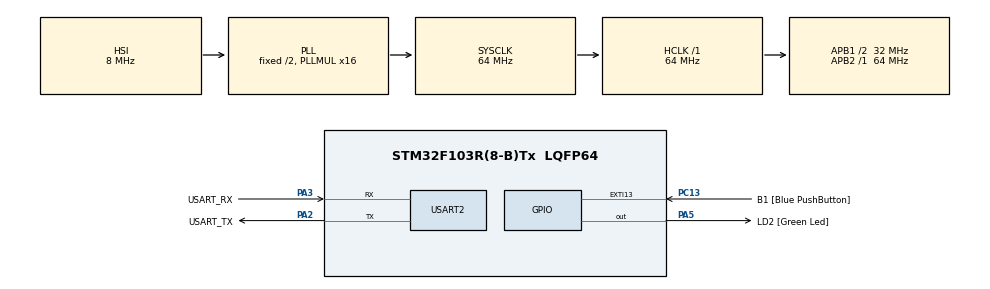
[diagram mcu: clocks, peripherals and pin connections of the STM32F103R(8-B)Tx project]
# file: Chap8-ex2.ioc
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Mcu.Family=STM32F1
Mcu.Name=STM32F103R(8-B)Tx
Mcu.Package=LQFP64
NVIC.EXTI15_10_IRQn=true\:0\:0\:false\:false\:true\:true\:true\:true
NVIC.PriorityGroup=NVIC_PRIORITYGROUP_4
PA13.GPIO_Label=TMS
PA13.Mode=Serial_Wire
PA13.Signal=SYS_JTMS-SWDIO
PA14.GPIO_Label=TCK
PA14.Mode=Serial_Wire
PA14.Signal=SYS_JTCK-SWCLK
PA2.GPIO_Label=USART_TX
PA2.GPIO_Mode=GPIO_MODE_AF_PP
PA2.GPIO_PuPd=GPIO_NOPULL
PA2.GPIO_Speed=GPIO_SPEED_FREQ_LOW
PA2.Mode=Asynchronous
PA2.Signal=USART2_TX
PA3.GPIO_Label=USART_RX
PA3.GPIO_Mode=GPIO_MODE_AF_PP
PA3.GPIO_PuPd=GPIO_NOPULL
PA3.GPIO_Speed=GPIO_SPEED_FREQ_LOW
PA3.Mode=Asynchronous
PA3.Signal=USART2_RX
PA5.GPIO_Label=LD2 [Green Led]
PA5.GPIO_ModeDefaultOutputPP=GPIO_MODE_OUTPUT_PP
PA5.GPIO_PuPd=GPIO_NOPULL
PA5.GPIO_Speed=GPIO_SPEED_FREQ_LOW
PA5.Signal=GPIO_Output
PB3.GPIO_Label=SWO
PB3.Signal=SYS_JTDO-TRACESWO
PC13-TAMPER-RTC.GPIO_Label=B1 [Blue PushButton]
PC13-TAMPER-RTC.GPIO_PuPd=GPIO_NOPULL
PC13-TAMPER-RTC.Signal=GPXTI13
PC14-OSC32_IN.Mode=LSE-External-Oscillator
PC14-OSC32_IN.Signal=RCC_OSC32_IN
PC15-OSC32_OUT.Mode=LSE-External-Oscillator
PC15-OSC32_OUT.Signal=RCC_OSC32_OUT
PD0-OSC_IN.Mode=HSE-External-Clock-Source
PD0-OSC_IN.Signal=RCC_OSC_IN
PD1-OSC_OUT.Mode=HSE-External-Clock-Source
PD1-OSC_OUT.Signal=RCC_OSC_OUT
ProjectManager.HeapSize=0x200
ProjectManager.StackSize=0x400
ProjectManager.TargetToolchain=STM32CubeIDE
RCC.AHBFreq_Value=64000000
RCC.APB1CLKDivider=RCC_HCLK_DIV2
RCC.APB1Freq_Value=32000000
RCC.APB1TimFreq_Value=64000000
RCC.APB2Freq_Value=64000000
RCC.APB2TimFreq_Value=64000000
RCC.HCLKFreq_Value=64000000
RCC.PLLMUL=RCC_PLL_MUL16
RCC.RTCClockSelection=RCC_RTCCLKSOURCE_LSE
RCC.SYSCLKFreq_VALUE=64000000
RCC.SYSCLKSource=RCC_SYSCLKSOURCE_PLLCLK
RCC.USBFreq_Value=64000000
USART2.VirtualMode=VM_ASYNC
board=NUCLEO-F103RB

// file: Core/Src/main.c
/* USER CODE BEGIN Header */
/**
  ******************************************************************************
  * @file           : main.c
  * @brief          : Main program body
  ******************************************************************************
  * @attention
  *
  * Copyright (c) 2022 STMicroelectronics.
  * All rights reserved.
  *
  * This software is licensed under terms that can be found in the LICENSE file
  * in the root directory of this software component.
  * If no LICENSE file comes with this software, it is provided AS-IS.
  *
  ******************************************************************************
  */
/* USER CODE END Header */
#include "main.h"
#include <string.h>
#include <stdio.h>
#include <stdlib.h>

/* USER CODE BEGIN PD */
#define WELCOME_MSG "Welcome to the Nucleo management console\r\n"
#define MAIN_MENU "Select the option you are interested in:\r\n\t1. Toggle LD2 LED\r\n\t2. Read USER BUTTON status\r\n\t3. Clear screen and print this message"
#define PROMPT "\r\n> "
/* USER CODE END PD */

 UART_HandleTypeDef huart2;
 char readBuf[1];
 __IO ITStatus UartReady = SET;

void SystemClock_Config(void);
static void MX_GPIO_Init(void);
static void MX_USART2_UART_Init(void);
void performCriticalTasks(void);
void printWelcomeMessage(void);
uint8_t processUserInput(uint8_t opt);
int8_t readUserInput(void);

int main(void)
{
	uint8_t opt = 0;
  /* USER CODE BEGIN 1 */
	/* Enable USART2 interrupt */
	HAL_NVIC_SetPriority(USART2_IRQn, 0, 0);
	HAL_NVIC_EnableIRQ(USART2_IRQn);
  /* USER CODE END 1 */

  /* MCU Configuration--------------------------------------------------------*/

  /* Reset of all peripherals, Initializes the Flash interface and the Systick. */
  HAL_Init();

  /* Configure the system clock */
  SystemClock_Config();

  /* Initialize all configured peripherals */
  MX_GPIO_Init();
  MX_USART2_UART_Init();
  /* USER CODE BEGIN 2 */
  printMessage:
  	  printWelcomeMessage();
  /* USER CODE END 2 */

  /* Infinite loop */
  /* USER CODE BEGIN WHILE */
  while (1)
  {
	  opt = readUserInput();
	  if(opt > 0) {
		  processUserInput(opt);
		  if(opt == 3)
			  goto printMessage;
	  }
	  performCriticalTasks();
    /* USER CODE END WHILE */

  }
}

void SystemClock_Config(void)
{
  RCC_OscInitTypeDef RCC_OscInitStruct = {0};
  RCC_ClkInitTypeDef RCC_ClkInitStruct = {0};

  /** Initializes the RCC Oscillators according to the specified parameters
  * in the RCC_OscInitTypeDef structure.
  */
  RCC_OscInitStruct.OscillatorType = RCC_OSCILLATORTYPE_HSI;
  RCC_OscInitStruct.HSIState = RCC_HSI_ON;
  RCC_OscInitStruct.HSICalibrationValue = RCC_HSICALIBRATION_DEFAULT;
  RCC_OscInitStruct.PLL.PLLState = RCC_PLL_ON;
  RCC_OscInitStruct.PLL.PLLSource = RCC_PLLSOURCE_HSI_DIV2;
  RCC_OscInitStruct.PLL.PLLMUL = RCC_PLL_MUL16;
  if (HAL_RCC_OscConfig(&RCC_OscInitStruct) != HAL_OK)
  {
    Error_Handler();
  }

  /** Initializes the CPU, AHB and APB buses clocks
  */
  RCC_ClkInitStruct.ClockType = RCC_CLOCKTYPE_HCLK|RCC_CLOCKTYPE_SYSCLK
                              |RCC_CLOCKTYPE_PCLK1|RCC_CLOCKTYPE_PCLK2;
  RCC_ClkInitStruct.SYSCLKSource = RCC_SYSCLKSOURCE_PLLCLK;
  RCC_ClkInitStruct.AHBCLKDivider = RCC_SYSCLK_DIV1;
  RCC_ClkInitStruct.APB1CLKDivider = RCC_HCLK_DIV2;
  RCC_ClkInitStruct.APB2CLKDivider = RCC_HCLK_DIV1;

  if (HAL_RCC_ClockConfig(&RCC_ClkInitStruct, FLASH_LATENCY_2) != HAL_OK)
  {
    Error_Handler();
  }
}

static void MX_USART2_UART_Init(void)
{

  huart2.Instance = USART2;
  huart2.Init.BaudRate = 115200;
  huart2.Init.WordLength = UART_WORDLENGTH_8B;
  huart2.Init.StopBits = UART_STOPBITS_1;
  huart2.Init.Parity = UART_PARITY_NONE;
  huart2.Init.Mode = UART_MODE_TX_RX;
  huart2.Init.HwFlowCtl = UART_HWCONTROL_NONE;
  huart2.Init.OverSampling = UART_OVERSAMPLING_16;
  if (HAL_UART_Init(&huart2) != HAL_OK)
  {
    Error_Handler();
  }

}

static void MX_GPIO_Init(void)
{
  GPIO_InitTypeDef GPIO_InitStruct = {0};

  /* GPIO Ports Clock Enable */
  __HAL_RCC_GPIOC_CLK_ENABLE();
  __HAL_RCC_GPIOD_CLK_ENABLE();
  __HAL_RCC_GPIOA_CLK_ENABLE();
  __HAL_RCC_GPIOB_CLK_ENABLE();

  /*Configure GPIO pin Output Level */
  HAL_GPIO_WritePin(LD2_GPIO_Port, LD2_Pin, GPIO_PIN_RESET);

  /*Configure GPIO pin : B1_Pin */
  GPIO_InitStruct.Pin = B1_Pin;
  GPIO_InitStruct.Mode = GPIO_MODE_IT_RISING;
  GPIO_InitStruct.Pull = GPIO_NOPULL;
  HAL_GPIO_Init(B1_GPIO_Port, &GPIO_InitStruct);

  /*Configure GPIO pin : LD2_Pin */
  GPIO_InitStruct.Pin = LD2_Pin;
  GPIO_InitStruct.Mode = GPIO_MODE_OUTPUT_PP;
  GPIO_InitStruct.Pull = GPIO_NOPULL;
  GPIO_InitStruct.Speed = GPIO_SPEED_FREQ_LOW;
  HAL_GPIO_Init(LD2_GPIO_Port, &GPIO_InitStruct);

  /* EXTI interrupt init*/
  HAL_NVIC_SetPriority(EXTI15_10_IRQn, 0, 0);
  HAL_NVIC_EnableIRQ(EXTI15_10_IRQn);

}

/* USER CODE BEGIN 4 */
void USART2_IRQHandler(void) {
	HAL_UART_IRQHandler(&huart2);
}

void HAL_UART_RxCpltCallback(UART_HandleTypeDef *UartHandle) {
	/* Set transmission flag: transfer complete */
	UartReady = SET;
}

void performCriticalTasks(void) {
  HAL_Delay(100);
}

void printWelcomeMessage(void) {
	char *strings[] = {"\033[0;0H", "\033[2J", WELCOME_MSG, MAIN_MENU, PROMPT};

	for (uint8_t i = 0; i < 5; i++) {
		HAL_UART_Transmit_IT(&huart2, (uint8_t*)strings[i], strlen(strings[i]));
		while (HAL_UART_GetState(&huart2) == HAL_UART_STATE_BUSY_TX || HAL_UART_GetState(&huart2) == HAL_UART_STATE_BUSY_TX_RX);
	}
}

int8_t readUserInput(void) {
	int8_t retVal = -1;

	if(UartReady == SET) {
		UartReady = RESET;
		HAL_UART_Receive_IT(&huart2, (uint8_t*)readBuf, 1);
		retVal = atoi(readBuf);
	}
	return retVal;
}

uint8_t processUserInput(uint8_t opt) {
  char msg[30];

  if(!opt || opt > 3)
    return 0;

  sprintf(msg, "%d", opt);
  HAL_UART_Transmit(&huart2, (uint8_t*)msg, strlen(msg), HAL_MAX_DELAY);

  switch(opt) {
  case 1:
    HAL_GPIO_TogglePin(GPIOA, GPIO_PIN_5);
    break;
  case 2:
    sprintf(msg, "\r\nUSER BUTTON status: %s", HAL_GPIO_ReadPin(GPIOC, GPIO_PIN_13) == GPIO_PIN_RESET ? "PRESSED" : "RELEASED");
    HAL_UART_Transmit(&huart2, (uint8_t*)msg, strlen(msg), HAL_MAX_DELAY);
    break;
  case 3:
    return 2;
  };

  HAL_UART_Transmit(&huart2, (uint8_t*)PROMPT, strlen(PROMPT), HAL_MAX_DELAY);
  return 1;
}
/* USER CODE END 4 */

void Error_Handler(void)
{
  __disable_irq();
  while (1)
  {
  }
}
